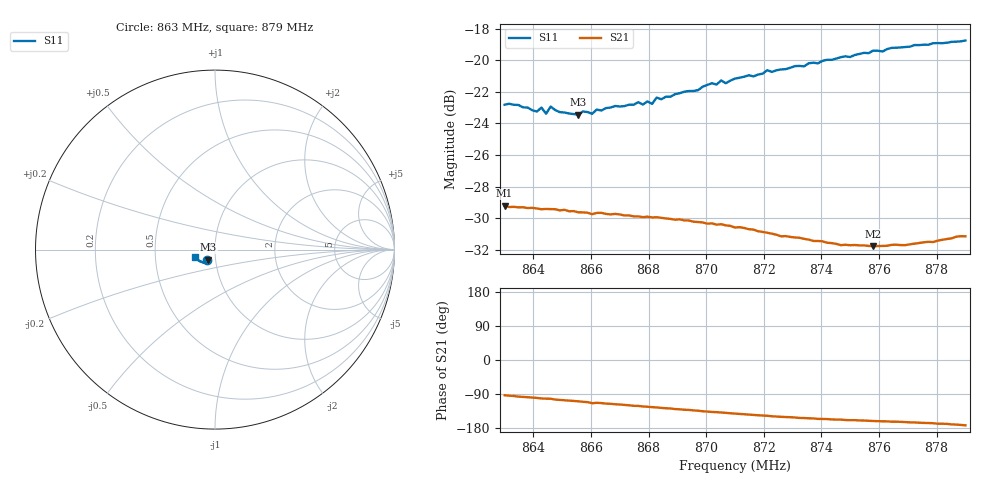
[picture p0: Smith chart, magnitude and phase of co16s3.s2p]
# HZ S RI R 50
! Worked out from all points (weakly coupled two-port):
!   101 points, 863 MHz to 879 MHz, reference 50 ohm
!   highest |S21| = -29.20 dB at 863 MHz (marker M1); lowest = -31.8 dB at 875.8 MHz (marker M2)
!   lowest |S11| = -23.5 dB at 865.56 MHz (marker M3), VSWR 1.14, Z = 46.1 - j5.14 ohm
!   |S11| at or under -10 dB: start of sweep to end of sweep
!   S12 and S22 are empty: the file has one direction only
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8.63e8  -0.0462 -0.0556  -0.00179 -0.0346  0 0  0 0
8.6348e8  -0.0454 -0.0561  -0.00396 -0.034  0 0  0 0
8.6412e8  -0.0406 -0.0556  -0.00593 -0.0334  0 0  0 0
8.6428e8  -0.0418 -0.0571  -0.00674 -0.0331  0 0  0 0
8.6444e8  -0.041 -0.0539  -0.00708 -0.0331  0 0  0 0
8.646e8  -0.0439 -0.0562  -0.00713 -0.033  0 0  0 0
8.6492e8  -0.0398 -0.0557  -0.00886 -0.0323  0 0  0 0
8.6556e8  -0.0379 -0.0555  -0.0108 -0.0312  0 0  0 0
8.6572e8  -0.0374 -0.0578  -0.0114 -0.031  0 0  0 0
8.6604e8  -0.0362 -0.0572  -0.0133 -0.0297  0 0  0 0
8.662e8  -0.0395 -0.0576  -0.0128 -0.0303  0 0  0 0
8.6764e8  -0.0378 -0.0632  -0.0166 -0.0274  0 0  0 0
8.6812e8  -0.0367 -0.0628  -0.0179 -0.0263  0 0  0 0
8.6828e8  -0.0384 -0.0658  -0.0184 -0.026  0 0  0 0
8.6844e8  -0.039 -0.0643  -0.0188 -0.0255  0 0  0 0
8.7068e8  -0.0469 -0.0704  -0.0228 -0.0195  0 0  0 0
8.71e8  -0.0503 -0.0715  -0.0231 -0.0184  0 0  0 0
8.7372e8  -0.0674 -0.0714  -0.0241 -0.0117  0 0  0 0
8.758e8  -0.0861 -0.064  -0.0244 -0.00841  0 0  0 0
8.7612e8  -0.087 -0.0614  -0.0246 -0.00808  0 0  0 0
8.7644e8  -0.0913 -0.0603  -0.0249 -0.00773  0 0  0 0
8.79e8  -0.1087 -0.0389  -0.0275 -0.00371  0 0  0 0
